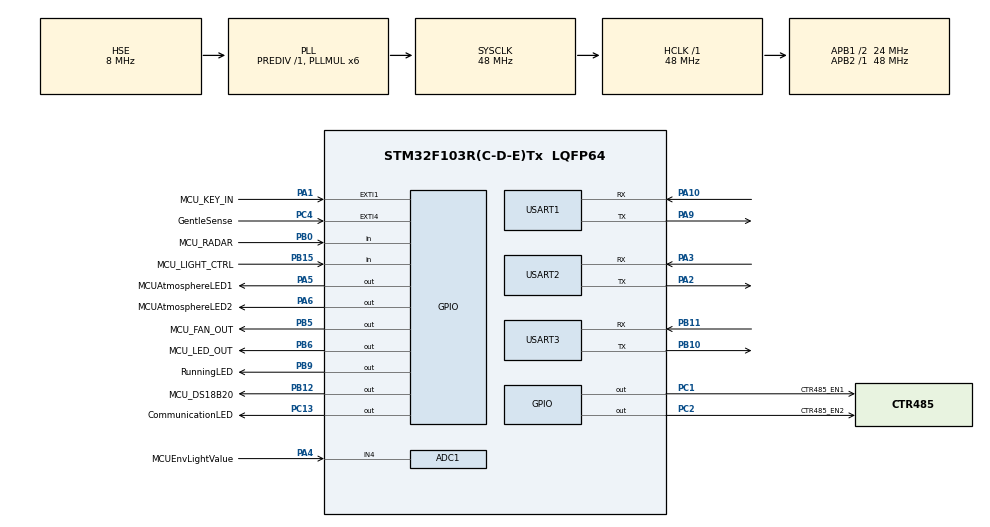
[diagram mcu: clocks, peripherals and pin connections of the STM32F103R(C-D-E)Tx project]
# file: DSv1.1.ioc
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ADC1.Channel-23\#ChannelRegularConversion=ADC_CHANNEL_4
ADC1.NbrOfConversionFlag=1
ADC1.Rank-23\#ChannelRegularConversion=1
ADC1.SamplingTime-23\#ChannelRegularConversion=ADC_SAMPLETIME_1CYCLE_5
ADC1.master=1
Dma.Request0=USART1_RX
Dma.Request1=USART1_TX
Dma.USART1_RX.0.Direction=DMA_PERIPH_TO_MEMORY
Dma.USART1_RX.0.Instance=DMA1_Channel5
Dma.USART1_RX.0.MemDataAlignment=DMA_MDATAALIGN_BYTE
Dma.USART1_RX.0.MemInc=DMA_MINC_ENABLE
Dma.USART1_RX.0.Mode=DMA_NORMAL
Dma.USART1_RX.0.PeriphDataAlignment=DMA_PDATAALIGN_BYTE
Dma.USART1_RX.0.PeriphInc=DMA_PINC_DISABLE
Dma.USART1_RX.0.Priority=DMA_PRIORITY_LOW
Dma.USART1_TX.1.Direction=DMA_MEMORY_TO_PERIPH
Dma.USART1_TX.1.Instance=DMA1_Channel4
Dma.USART1_TX.1.MemDataAlignment=DMA_MDATAALIGN_BYTE
Dma.USART1_TX.1.MemInc=DMA_MINC_ENABLE
Dma.USART1_TX.1.Mode=DMA_NORMAL
Dma.USART1_TX.1.PeriphDataAlignment=DMA_PDATAALIGN_BYTE
Dma.USART1_TX.1.PeriphInc=DMA_PINC_DISABLE
Dma.USART1_TX.1.Priority=DMA_PRIORITY_LOW
Mcu.Family=STM32F1
Mcu.Name=STM32F103R(C-D-E)Tx
Mcu.Package=LQFP64
NVIC.ADC1_2_IRQn=true\:0\:0\:false\:false\:true\:true
NVIC.DMA1_Channel4_IRQn=true\:0\:0\:false\:true\:true\:9\:false
NVIC.DMA1_Channel5_IRQn=true\:0\:0\:false\:true\:true\:10\:false
NVIC.EXTI1_IRQn=true\:0\:0\:false\:true\:true\:7\:true
NVIC.EXTI4_IRQn=true\:0\:0\:false\:true\:true\:6\:true
NVIC.PVD_IRQn=true\:0\:0\:false\:true\:true\:8\:true
NVIC.PriorityGroup=NVIC_PRIORITYGROUP_4
NVIC.TIM4_IRQn=true\:0\:0\:false\:true\:true\:4\:true
NVIC.TIM5_IRQn=true\:0\:0\:false\:true\:true\:5\:true
NVIC.USART1_IRQn=true\:0\:0\:false\:true\:true\:1\:true
NVIC.USART2_IRQn=true\:0\:0\:false\:true\:true\:2\:true
NVIC.USART3_IRQn=true\:0\:0\:false\:true\:true\:3\:true
PA1.GPIO_Label=MCU_KEY_IN
PA1.Signal=GPXTI1
PA10.Mode=Asynchronous
PA10.Signal=USART1_RX
PA13.Mode=Serial_Wire
PA13.Signal=SYS_JTMS-SWDIO
PA14.Mode=Serial_Wire
PA14.Signal=SYS_JTCK-SWCLK
PA2.Mode=Asynchronous
PA2.Signal=USART2_TX
PA3.Mode=Asynchronous
PA3.Signal=USART2_RX
PA4.GPIO_Label=MCUEnvLightValue
PA4.Signal=ADCx_IN4
PA5.GPIO_Label=MCUAtmosphereLED1
PA5.Signal=GPIO_Output
PA6.GPIO_Label=MCUAtmosphereLED2
PA6.Signal=GPIO_Output
PA9.Mode=Asynchronous
PA9.Signal=USART1_TX
PB0.GPIO_Label=MCU_RADAR
PB0.Signal=GPIO_Input
PB10.Mode=Asynchronous
PB10.Signal=USART3_TX
PB11.Mode=Asynchronous
PB11.Signal=USART3_RX
PB12.GPIO_Label=MCU_DS18B20
PB12.Signal=GPIO_Output
PB15.GPIO_Label=MCU_LIGHT_CTRL
PB15.Signal=GPIO_Input
PB5.GPIO_Label=MCU_FAN_OUT
PB5.Signal=GPIO_Output
PB6.GPIO_Label=MCU_LED_OUT
PB6.Signal=GPIO_Output
PB9.GPIO_Label=RunningLED
PB9.Signal=GPIO_Output
PC1.GPIO_Label=CTR485_EN1
PC1.Signal=GPIO_Output
PC13-TAMPER-RTC.GPIO_Label=CommunicationLED
PC13-TAMPER-RTC.Signal=GPIO_Output
PC2.GPIO_Label=CTR485_EN2
PC2.Signal=GPIO_Output
PC4.GPIO_Label=GentleSense
PC4.GPIO_ModeDefaultEXTI=GPIO_MODE_IT_FALLING
PC4.GPIO_PuPd=GPIO_PULLUP
PC4.Signal=GPXTI4
PD0-OSC_IN.Mode=HSE-External-Oscillator
PD0-OSC_IN.Signal=RCC_OSC_IN
PD1-OSC_OUT.Mode=HSE-External-Oscillator
PD1-OSC_OUT.Signal=RCC_OSC_OUT
ProjectManager.HeapSize=0x200
ProjectManager.StackSize=0x400
ProjectManager.TargetToolchain=MDK-ARM V5
RCC.ADCPresc=RCC_ADCPCLK2_DIV4
RCC.AHBFreq_Value=48000000
RCC.APB1CLKDivider=RCC_HCLK_DIV2
RCC.APB1Freq_Value=24000000
RCC.APB1TimFreq_Value=48000000
RCC.APB2Freq_Value=48000000
RCC.APB2TimFreq_Value=48000000
RCC.HCLKFreq_Value=48000000
RCC.PLLMUL=RCC_PLL_MUL6
RCC.PLLSourceVirtual=RCC_PLLSOURCE_HSE
RCC.SYSCLKFreq_VALUE=48000000
RCC.SYSCLKSource=RCC_SYSCLKSOURCE_PLLCLK
RCC.USBFreq_Value=48000000
SH.ADCx_IN4.0=ADC1_IN4,IN4
TIM4.Period=1000-1
TIM4.Prescaler=48-1
TIM5.Period=1000-1
TIM5.Prescaler=48-1
USART1.VirtualMode=VM_ASYNC
USART2.VirtualMode=VM_ASYNC
USART3.VirtualMode=VM_ASYNC
VP_TIM4_VS_ClockSourceINT.Mode=Internal
VP_TIM5_VS_ClockSourceINT.Mode=Internal
board=DSv1.1

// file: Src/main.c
/**
  ******************************************************************************
  * File Name          : main.c
  * Description        : Main program body
  ******************************************************************************
  ** This notice applies to any and all portions of this file
  * that are not between comment pairs USER CODE BEGIN and
  * USER CODE END. Other portions of this file, whether
  * inserted by the user or by software development tools
  * are owned by their respective copyright owners.
  *
  * COPYRIGHT(c) 2017 STMicroelectronics
  *
  * Redistribution and use in source and binary forms, with or without modification,
  * are permitted provided that the following conditions are met:
  *   1. Redistributions of source code must retain the above copyright notice,
  *      this list of conditions and the following disclaimer.
  *   2. Redistributions in binary form must reproduce the above copyright notice,
  *      this list of conditions and the following disclaimer in the documentation
  *      and/or other materials provided with the distribution.
  *   3. Neither the name of STMicroelectronics nor the names of its contributors
  *      may be used to endorse or promote products derived from this software
  *      without specific prior written permission.
  *
  * THIS SOFTWARE IS PROVIDED BY THE COPYRIGHT HOLDERS AND CONTRIBUTORS "AS IS"
  * AND ANY EXPRESS OR IMPLIED WARRANTIES, INCLUDING, BUT NOT LIMITED TO, THE
  * IMPLIED WARRANTIES OF MERCHANTABILITY AND FITNESS FOR A PARTICULAR PURPOSE ARE
  * DISCLAIMED. IN NO EVENT SHALL THE COPYRIGHT HOLDER OR CONTRIBUTORS BE LIABLE
  * FOR ANY DIRECT, INDIRECT, INCIDENTAL, SPECIAL, EXEMPLARY, OR CONSEQUENTIAL
  * DAMAGES (INCLUDING, BUT NOT LIMITED TO, PROCUREMENT OF SUBSTITUTE GOODS OR
  * SERVICES; LOSS OF USE, DATA, OR PROFITS; OR BUSINESS INTERRUPTION) HOWEVER
  * CAUSED AND ON ANY THEORY OF LIABILITY, WHETHER IN CONTRACT, STRICT LIABILITY,
  * OR TORT (INCLUDING NEGLIGENCE OR OTHERWISE) ARISING IN ANY WAY OUT OF THE USE
  * OF THIS SOFTWARE, EVEN IF ADVISED OF THE POSSIBILITY OF SUCH DAMAGE.
  *
  ******************************************************************************
  */
#include "main.h"
#include "stm32f1xx_hal.h"
#include "adc.h"
#include "dma.h"
#include "tim.h"
#include "usart.h"
#include "gpio.h"

/* USER CODE BEGIN PV */
/* Private variables ---------------------------------------------------------*/
uint8_t gAtmosphereFlag = 0;
uint8_t gGentleSenseFlag = 0;
uint8_t gADataCmdFlag = 0;
uint16_t gAtomsphereTIMCnt = 0;
uint16_t gTIM4Cnt = 0;
uint16_t gA9CmdTIM4Cnt = 0;
A9SendCMD gA9SendCmd;
A9ACKCMD gA9ACKCmd;
A9DATA gA9Data;
A9DATA gReA9Data;
uint8_t gReA9Cmd;
uint8_t gReA9Param;

/* USER CODE END PV */

void SystemClock_Config(void);
static void MX_NVIC_Init(void);

/* USER CODE BEGIN PFP */
/* Private function prototypes -----------------------------------------------*/

/* USER CODE END PFP */

int main(void)
{

  /* USER CODE BEGIN 1 */
	gA9Data.data1 = 0xFF;
	gA9Data.data2 = 0xFF;
	gA9Data.data3 = 0xFF;
	gA9ACKCmd.Header = 0x5353;
	gA9ACKCmd.END    = 0xAAAA;

	gA9SendCmd.Header = 0x5353;
	gA9SendCmd.END = 0xAAAA;
	gA9SendCmd.Data.data1 = gA9Data.data1;
	gA9SendCmd.Data.data2 = gA9Data.data2;
	gA9SendCmd.Data.data3 = gA9Data.data3;
	gA9SendCmd.SumCheck = (uint8_t)(gA9SendCmd.CMD + \
																	gA9SendCmd.Parma + \
																	gA9SendCmd.Data.data1 + \
																	gA9SendCmd.Data.data2 + \
																	gA9SendCmd.Data.data3);

  /* USER CODE END 1 */

  /* MCU Configuration----------------------------------------------------------*/

  /* Reset of all peripherals, Initializes the Flash interface and the Systick. */
  HAL_Init();

  /* Configure the system clock */
  SystemClock_Config();

  /* Initialize all configured peripherals */
  MX_GPIO_Init();
  MX_DMA_Init();
  MX_TIM4_Init();
  MX_TIM5_Init();
  MX_USART1_UART_Init();
  MX_USART2_UART_Init();
  MX_USART3_UART_Init();
  MX_ADC1_Init();

  /* Initialize interrupts */
  MX_NVIC_Init();

  /* USER CODE BEGIN 2 */
	HAL_TIM_Base_Start_IT(&htim4);
	HAL_TIM_Base_Start_IT(&htim5);
	HAL_UART_Receive_DMA(&huart1, UsartType.RX_pData, RX_LEN);
	__HAL_UART_ENABLE_IT(&huart1,UART_IT_IDLE);

  /* USER CODE END 2 */

  /* Infinite loop */
  while (1)
  {

  /* USER CODE BEGIN 3 */
		if(UsartType.RX_flag)
		{
			UsartType.RX_flag = 0;
			if(1 == gADataCmdFlag)
			{
				if( 0xAC == *(UsartType.RX_pData + 2) && 0x01 == *(UsartType.RX_pData + 3))
				{
					gGentleSenseFlag = 0;
					gADataCmdFlag = 0;
				}
			}

			if(0 == gADataCmdFlag)
			{

			}
		}
  }
  /* USER CODE END 3 */

}

/** System Clock Configuration
*/
void SystemClock_Config(void)
{

  RCC_OscInitTypeDef RCC_OscInitStruct;
  RCC_ClkInitTypeDef RCC_ClkInitStruct;
  RCC_PeriphCLKInitTypeDef PeriphClkInit;

    /**Initializes the CPU, AHB and APB busses clocks
    */
  RCC_OscInitStruct.OscillatorType = RCC_OSCILLATORTYPE_HSE;
  RCC_OscInitStruct.HSEState = RCC_HSE_ON;
  RCC_OscInitStruct.HSEPredivValue = RCC_HSE_PREDIV_DIV1;
  RCC_OscInitStruct.HSIState = RCC_HSI_ON;
  RCC_OscInitStruct.PLL.PLLState = RCC_PLL_ON;
  RCC_OscInitStruct.PLL.PLLSource = RCC_PLLSOURCE_HSE;
  RCC_OscInitStruct.PLL.PLLMUL = RCC_PLL_MUL6;
  if (HAL_RCC_OscConfig(&RCC_OscInitStruct) != HAL_OK)
  {
    _Error_Handler(__FILE__, __LINE__);
  }

    /**Initializes the CPU, AHB and APB busses clocks
    */
  RCC_ClkInitStruct.ClockType = RCC_CLOCKTYPE_HCLK|RCC_CLOCKTYPE_SYSCLK
                              |RCC_CLOCKTYPE_PCLK1|RCC_CLOCKTYPE_PCLK2;
  RCC_ClkInitStruct.SYSCLKSource = RCC_SYSCLKSOURCE_PLLCLK;
  RCC_ClkInitStruct.AHBCLKDivider = RCC_SYSCLK_DIV1;
  RCC_ClkInitStruct.APB1CLKDivider = RCC_HCLK_DIV2;
  RCC_ClkInitStruct.APB2CLKDivider = RCC_HCLK_DIV1;

  if (HAL_RCC_ClockConfig(&RCC_ClkInitStruct, FLASH_LATENCY_1) != HAL_OK)
  {
    _Error_Handler(__FILE__, __LINE__);
  }

  PeriphClkInit.PeriphClockSelection = RCC_PERIPHCLK_ADC;
  PeriphClkInit.AdcClockSelection = RCC_ADCPCLK2_DIV4;
  if (HAL_RCCEx_PeriphCLKConfig(&PeriphClkInit) != HAL_OK)
  {
    _Error_Handler(__FILE__, __LINE__);
  }

    /**Configure the Systick interrupt time
    */
  HAL_SYSTICK_Config(HAL_RCC_GetHCLKFreq()/1000);

    /**Configure the Systick
    */
  HAL_SYSTICK_CLKSourceConfig(SYSTICK_CLKSOURCE_HCLK);

  /* SysTick_IRQn interrupt configuration */
  HAL_NVIC_SetPriority(SysTick_IRQn, 0, 0);
}

/** NVIC Configuration
*/
static void MX_NVIC_Init(void)
{
  /* USART1_IRQn interrupt configuration */
  HAL_NVIC_SetPriority(USART1_IRQn, 0, 0);
  HAL_NVIC_EnableIRQ(USART1_IRQn);
  /* USART2_IRQn interrupt configuration */
  HAL_NVIC_SetPriority(USART2_IRQn, 0, 0);
  HAL_NVIC_EnableIRQ(USART2_IRQn);
  /* USART3_IRQn interrupt configuration */
  HAL_NVIC_SetPriority(USART3_IRQn, 0, 0);
  HAL_NVIC_EnableIRQ(USART3_IRQn);
  /* TIM4_IRQn interrupt configuration */
  HAL_NVIC_SetPriority(TIM4_IRQn, 0, 0);
  HAL_NVIC_EnableIRQ(TIM4_IRQn);
  /* TIM5_IRQn interrupt configuration */
  HAL_NVIC_SetPriority(TIM5_IRQn, 0, 0);
  HAL_NVIC_EnableIRQ(TIM5_IRQn);
  /* EXTI4_IRQn interrupt configuration */
  HAL_NVIC_SetPriority(EXTI4_IRQn, 0, 0);
  HAL_NVIC_EnableIRQ(EXTI4_IRQn);
  /* EXTI1_IRQn interrupt configuration */
  HAL_NVIC_SetPriority(EXTI1_IRQn, 0, 0);
  HAL_NVIC_EnableIRQ(EXTI1_IRQn);
  /* PVD_IRQn interrupt configuration */
  HAL_NVIC_SetPriority(PVD_IRQn, 0, 0);
  HAL_NVIC_EnableIRQ(PVD_IRQn);
  /* DMA1_Channel4_IRQn interrupt configuration */
  HAL_NVIC_SetPriority(DMA1_Channel4_IRQn, 0, 0);
  HAL_NVIC_EnableIRQ(DMA1_Channel4_IRQn);
  /* DMA1_Channel5_IRQn interrupt configuration */
  HAL_NVIC_SetPriority(DMA1_Channel5_IRQn, 0, 0);
  HAL_NVIC_EnableIRQ(DMA1_Channel5_IRQn);
}

/* USER CODE BEGIN 4 */
void HAL_TIM_PeriodElapsedCallback(TIM_HandleTypeDef *htim)
{
	if(htim->Instance == htim4.Instance)
	{
		//�ظ���������5�η��� ��ÿ��20ms����һ��
		if(1 == gADataCmdFlag)
		{
			if(0 == gA9CmdTIM4Cnt%500)
			{
				BSP_SendData2A9((uint8_t*)&gA9SendCmd,sizeof(gA9SendCmd),0xFFFF);
			}
			gA9CmdTIM4Cnt++;
			if(gA9CmdTIM4Cnt > 2500)
			{
				gA9CmdTIM4Cnt = 0;
				gGentleSenseFlag = 0;
				gADataCmdFlag = 0;
			}
		}

		gTIM4Cnt++;
		if(gTIM4Cnt > 100)
		{
			BSP_COMMUNICATIONLED_TORGGLE();
			BSP_RUNNINGLED_TORGGLE();
			gTIM4Cnt = 0;
		}
	}

	if(htim->Instance == htim5.Instance)
	{
		if(1 == gAtmosphereFlag)
		{

			if(0 == gAtomsphereTIMCnt % 50)
			{
				BSP_LED_OUT_ON();
				BSP_ATMOSPHERELED1_ON();
				BSP_ATMOSPHERELED2_TOGGLE();
			}
			gAtomsphereTIMCnt++;

		}
		if(gAtomsphereTIMCnt > 5000)
		{

			BSP_LED_OUT_OFF();
			BSP_ATMOSPHERELED1_OFF();
			BSP_ATMOSPHERELED2_OFF();
			gAtomsphereTIMCnt = 0;
			gAtmosphereFlag = 0;
		}

	}
}
/**
  * @brief  EXTI line detection callbacks.
  * @param  GPIO_Pin: Specifies the pins connected EXTI line
  * @retval None
  */
void HAL_GPIO_EXTI_Callback(uint16_t GPIO_Pin)
{
  /* Prevent unused argument(s) compilation warning */
  UNUSED(GPIO_Pin);
  /* NOTE: This function Should not be modified, when the callback is needed,
           the HAL_GPIO_EXTI_Callback could be implemented in the user file
   */
	if(GentleSense_Pin == GPIO_Pin)
	{
		gGentleSenseFlag = 1;
		gAtmosphereFlag  = 1;
		gADataCmdFlag = 1;
		gA9SendCmd.CMD = 0xC1;
		gA9SendCmd.Parma = 0x01;
		gA9SendCmd.SumCheck = (uint8_t)(gA9SendCmd.CMD + \
																		gA9SendCmd.Parma + \
																		gA9SendCmd.Data.data1 + \
																		gA9SendCmd.Data.data2 + \
																		gA9SendCmd.Data.data3);
	}
}

/* USER CODE END 4 */

void _Error_Handler(char * file, int line)
{
  while(1)
  {
  }
}

/************************ (C) COPYRIGHT STMicroelectronics *****END OF FILE****/
